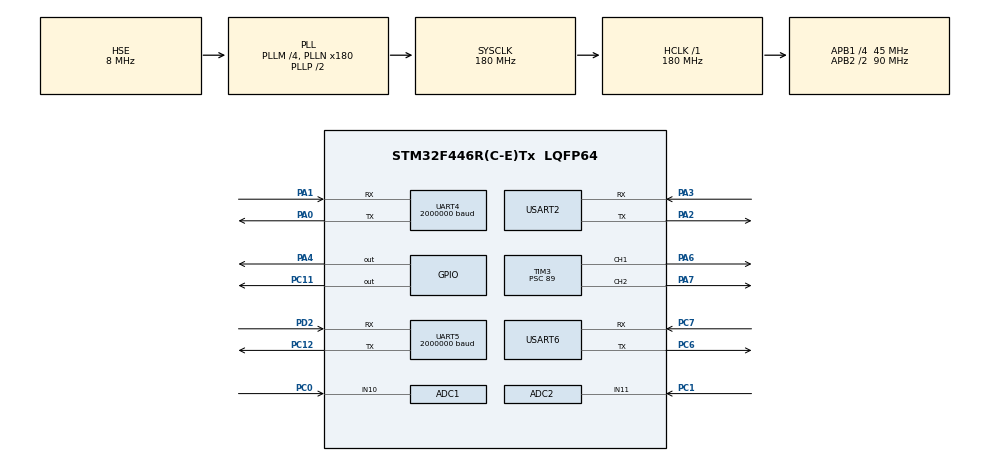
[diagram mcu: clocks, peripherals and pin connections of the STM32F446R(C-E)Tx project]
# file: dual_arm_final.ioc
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ADC1.Channel-0\#ChannelRegularConversion=ADC_CHANNEL_10
ADC1.NbrOfConversionFlag=1
ADC1.Rank-0\#ChannelRegularConversion=1
ADC1.SamplingTime-0\#ChannelRegularConversion=ADC_SAMPLETIME_3CYCLES
ADC1.master=1
ADC2.Channel-0\#ChannelRegularConversion=ADC_CHANNEL_11
ADC2.NbrOfConversionFlag=1
ADC2.Rank-0\#ChannelRegularConversion=1
ADC2.SamplingTime-0\#ChannelRegularConversion=ADC_SAMPLETIME_3CYCLES
Dma.Request0=UART4_RX
Dma.Request1=USART6_RX
Dma.Request2=UART5_RX
Dma.UART4_RX.0.Direction=DMA_PERIPH_TO_MEMORY
Dma.UART4_RX.0.FIFOMode=DMA_FIFOMODE_DISABLE
Dma.UART4_RX.0.Instance=DMA1_Stream2
Dma.UART4_RX.0.MemDataAlignment=DMA_MDATAALIGN_BYTE
Dma.UART4_RX.0.MemInc=DMA_MINC_ENABLE
Dma.UART4_RX.0.Mode=DMA_NORMAL
Dma.UART4_RX.0.PeriphDataAlignment=DMA_PDATAALIGN_BYTE
Dma.UART4_RX.0.PeriphInc=DMA_PINC_DISABLE
Dma.UART4_RX.0.Priority=DMA_PRIORITY_LOW
Dma.UART5_RX.2.Direction=DMA_PERIPH_TO_MEMORY
Dma.UART5_RX.2.FIFOMode=DMA_FIFOMODE_DISABLE
Dma.UART5_RX.2.Instance=DMA1_Stream0
Dma.UART5_RX.2.MemDataAlignment=DMA_MDATAALIGN_BYTE
Dma.UART5_RX.2.MemInc=DMA_MINC_ENABLE
Dma.UART5_RX.2.Mode=DMA_NORMAL
Dma.UART5_RX.2.PeriphDataAlignment=DMA_PDATAALIGN_BYTE
Dma.UART5_RX.2.PeriphInc=DMA_PINC_DISABLE
Dma.UART5_RX.2.Priority=DMA_PRIORITY_LOW
Dma.USART6_RX.1.Direction=DMA_PERIPH_TO_MEMORY
Dma.USART6_RX.1.FIFOMode=DMA_FIFOMODE_DISABLE
Dma.USART6_RX.1.Instance=DMA2_Stream1
Dma.USART6_RX.1.MemDataAlignment=DMA_MDATAALIGN_BYTE
Dma.USART6_RX.1.MemInc=DMA_MINC_ENABLE
Dma.USART6_RX.1.Mode=DMA_CIRCULAR
Dma.USART6_RX.1.PeriphDataAlignment=DMA_PDATAALIGN_BYTE
Dma.USART6_RX.1.PeriphInc=DMA_PINC_DISABLE
Dma.USART6_RX.1.Priority=DMA_PRIORITY_MEDIUM
Mcu.Family=STM32F4
Mcu.Name=STM32F446R(C-E)Tx
Mcu.Package=LQFP64
NVIC.DMA1_Stream0_IRQn=true\:0\:0\:false\:false\:true\:false\:true\:true
NVIC.DMA1_Stream2_IRQn=true\:0\:0\:false\:false\:true\:false\:true\:true
NVIC.DMA2_Stream1_IRQn=true\:0\:0\:false\:false\:true\:false\:true\:true
NVIC.PriorityGroup=NVIC_PRIORITYGROUP_4
NVIC.UART4_IRQn=true\:0\:0\:false\:false\:true\:true\:true\:true
NVIC.UART5_IRQn=true\:0\:0\:false\:false\:true\:true\:true\:true
NVIC.USART6_IRQn=true\:0\:0\:false\:false\:true\:true\:true\:true
PA0-WKUP.GPIO_PuPd=GPIO_PULLUP
PA0-WKUP.Mode=Asynchronous
PA0-WKUP.Signal=UART4_TX
PA1.GPIO_PuPd=GPIO_PULLUP
PA1.Mode=Asynchronous
PA1.Signal=UART4_RX
PA2.Mode=Asynchronous
PA2.Signal=USART2_TX
PA3.Mode=Asynchronous
PA3.Signal=USART2_RX
PA4.Signal=GPIO_Output
PA6.GPIO_Speed=GPIO_SPEED_FREQ_HIGH
PA6.Signal=S_TIM3_CH1
PA7.GPIO_Speed=GPIO_SPEED_FREQ_HIGH
PA7.Signal=S_TIM3_CH2
PC0.Signal=ADCx_IN10
PC1.Signal=ADCx_IN11
PC11.Signal=GPIO_Output
PC12.GPIO_PuPd=GPIO_PULLUP
PC12.Mode=Asynchronous
PC12.Signal=UART5_TX
PC6.Mode=Asynchronous
PC6.Signal=USART6_TX
PC7.Mode=Asynchronous
PC7.Signal=USART6_RX
PD2.GPIO_PuPd=GPIO_PULLUP
PD2.Mode=Asynchronous
PD2.Signal=UART5_RX
PH0-OSC_IN.Mode=HSE-External-Clock-Source
PH0-OSC_IN.Signal=RCC_OSC_IN
PH1-OSC_OUT.Mode=HSE-External-Clock-Source
PH1-OSC_OUT.Signal=RCC_OSC_OUT
ProjectManager.HeapSize=0x200
ProjectManager.StackSize=0x400
ProjectManager.TargetToolchain=STM32CubeIDE
RCC.AHBFreq_Value=180000000
RCC.APB1CLKDivider=RCC_HCLK_DIV4
RCC.APB1Freq_Value=45000000
RCC.APB1TimFreq_Value=90000000
RCC.APB2CLKDivider=RCC_HCLK_DIV2
RCC.APB2Freq_Value=90000000
RCC.APB2TimFreq_Value=180000000
RCC.CortexFreq_Value=180000000
RCC.HCLKFreq_Value=180000000
RCC.HSE_VALUE=8000000
RCC.PLLM=4
RCC.PLLN=180
RCC.PLLSourceVirtual=RCC_PLLSOURCE_HSE
RCC.SYSCLKFreq_VALUE=180000000
RCC.SYSCLKSource=RCC_SYSCLKSOURCE_PLLCLK
RCC.USBFreq_Value=180000000
RCC.VCOOutputFreq_Value=360000000
SH.ADCx_IN10.0=ADC1_IN10,IN10
SH.ADCx_IN11.0=ADC2_IN11,IN11
SH.S_TIM3_CH1.0=TIM3_CH1,PWM Generation1 CH1
SH.S_TIM3_CH2.0=TIM3_CH2,PWM Generation2 CH2
TIM3.Channel-PWM\ Generation1\ CH1=TIM_CHANNEL_1
TIM3.Channel-PWM\ Generation2\ CH2=TIM_CHANNEL_2
TIM3.Period=19999
TIM3.Prescaler=89
TIM3.Pulse-PWM\ Generation1\ CH1=1500
UART4.BaudRate=2000000
UART4.VirtualMode=Asynchronous
UART5.BaudRate=2000000
UART5.VirtualMode=Asynchronous
USART2.VirtualMode=VM_ASYNC
USART6.VirtualMode=VM_ASYNC
VP_TIM3_VS_ClockSourceINT.Mode=Internal
board=custom

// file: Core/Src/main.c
/* USER CODE BEGIN Header */
/**
  ******************************************************************************
  * @file           : main.c
  * @brief          : Main program body
  ******************************************************************************
  * @attention
  *
  * Copyright (c) 2025 STMicroelectronics.
  * All rights reserved.
  *
  * This software is licensed under terms that can be found in the LICENSE file
  * in the root directory of this software component.
  * If no LICENSE file comes with this software, it is provided AS-IS.
  *
  ******************************************************************************
  */
/* USER CODE END Header */
#include "main.h"
#include "adc.h"
#include "dma.h"
#include "tim.h"
#include "usart.h"
#include "gpio.h"

/* USER CODE BEGIN Includes */
#include "dynamixel.h"
#include "link_comm.h"
#include "motion.h"
#include "pressure.h"
#include "servo.h"
#include "grip.h"
#include "dwt_util.h"
#include "script.h"
#include <math.h>
#include <stdio.h>
/* USER CODE END Includes */

/* USER CODE BEGIN PTD */
#define DO_INIT_HOME 1
#define USE_MY_DWT
const uint8_t DXL_ID_LIST[DXL_ID_CNT] = { 1, 2, 3, 4, 5, 6, 7, 8, 9, 10, 11, 12, 13, 14 };
const float   VEL_DPS[DXL_ID_CNT]     = { 20, 20, 20, 20, 20, 20, 20, 20 ,20 ,20, 20, 20, 20, 20 };

#ifdef __GNUC__
#define PUTCHAR_PROTOTYPE int __io_putchar(int ch)
#else
#define PUTCHAR_PROTOTYPE int fputc(int ch, FILE *f)
#endif
PUTCHAR_PROTOTYPE
{
  HAL_UART_Transmit(&huart2, (uint8_t *)&ch, 1, HAL_MAX_DELAY);
  return ch;
}
/* USER CODE END PTD */

void SystemClock_Config(void);

int main(void)
{

  /* MCU Configuration--------------------------------------------------------*/

  /* Reset of all peripherals, Initializes the Flash interface and the Systick. */
  HAL_Init();

  /* Configure the system clock */
  SystemClock_Config();

  /* Initialize all configured peripherals */
  MX_GPIO_Init();
  MX_DMA_Init();
  MX_UART4_Init();
  MX_USART2_UART_Init();
  MX_USART6_UART_Init();
  MX_ADC1_Init();
  MX_ADC2_Init();
  MX_TIM3_Init();
  MX_UART5_Init();
  /* USER CODE BEGIN 2 */
  #if defined(USE_MY_DWT)
  DWT_Init();
  #endif

  Dynamixel_begin_right(&huart4, GPIOA, GPIO_PIN_4);
  Dynamixel_begin_left (&huart5, GPIOC, GPIO_PIN_11);
  LinkComm_Init(&huart6);
  init_dynamixels();

  #if DO_INIT_HOME
  init_move_all_to_180();
  #endif

  ServoSystem_Init();

  /* USER CODE END 2 */

  /* Infinite loop */
  /* USER CODE BEGIN WHILE */
  while (1)
  {
	LinkComm_Task();
    update_all_motors();

    HAL_Delay(2);
//    if (link_mark == '$' && done){
//    	run_script();
//    }
    /* USER CODE END WHILE */

  }
}

void SystemClock_Config(void)
{
  RCC_OscInitTypeDef RCC_OscInitStruct = {0};
  RCC_ClkInitTypeDef RCC_ClkInitStruct = {0};

  /** Configure the main internal regulator output voltage
  */
  __HAL_RCC_PWR_CLK_ENABLE();
  __HAL_PWR_VOLTAGESCALING_CONFIG(PWR_REGULATOR_VOLTAGE_SCALE1);

  /** Initializes the RCC Oscillators according to the specified parameters
  * in the RCC_OscInitTypeDef structure.
  */
  RCC_OscInitStruct.OscillatorType = RCC_OSCILLATORTYPE_HSE;
  RCC_OscInitStruct.HSEState = RCC_HSE_BYPASS;
  RCC_OscInitStruct.PLL.PLLState = RCC_PLL_ON;
  RCC_OscInitStruct.PLL.PLLSource = RCC_PLLSOURCE_HSE;
  RCC_OscInitStruct.PLL.PLLM = 4;
  RCC_OscInitStruct.PLL.PLLN = 180;
  RCC_OscInitStruct.PLL.PLLP = RCC_PLLP_DIV2;
  RCC_OscInitStruct.PLL.PLLQ = 2;
  RCC_OscInitStruct.PLL.PLLR = 2;
  if (HAL_RCC_OscConfig(&RCC_OscInitStruct) != HAL_OK)
  {
    Error_Handler();
  }

  /** Activate the Over-Drive mode
  */
  if (HAL_PWREx_EnableOverDrive() != HAL_OK)
  {
    Error_Handler();
  }

  /** Initializes the CPU, AHB and APB buses clocks
  */
  RCC_ClkInitStruct.ClockType = RCC_CLOCKTYPE_HCLK|RCC_CLOCKTYPE_SYSCLK
                              |RCC_CLOCKTYPE_PCLK1|RCC_CLOCKTYPE_PCLK2;
  RCC_ClkInitStruct.SYSCLKSource = RCC_SYSCLKSOURCE_PLLCLK;
  RCC_ClkInitStruct.AHBCLKDivider = RCC_SYSCLK_DIV1;
  RCC_ClkInitStruct.APB1CLKDivider = RCC_HCLK_DIV4;
  RCC_ClkInitStruct.APB2CLKDivider = RCC_HCLK_DIV2;

  if (HAL_RCC_ClockConfig(&RCC_ClkInitStruct, FLASH_LATENCY_5) != HAL_OK)
  {
    Error_Handler();
  }
}

void Error_Handler(void)
{
  __disable_irq();
  while (1)
  {
  }
}
